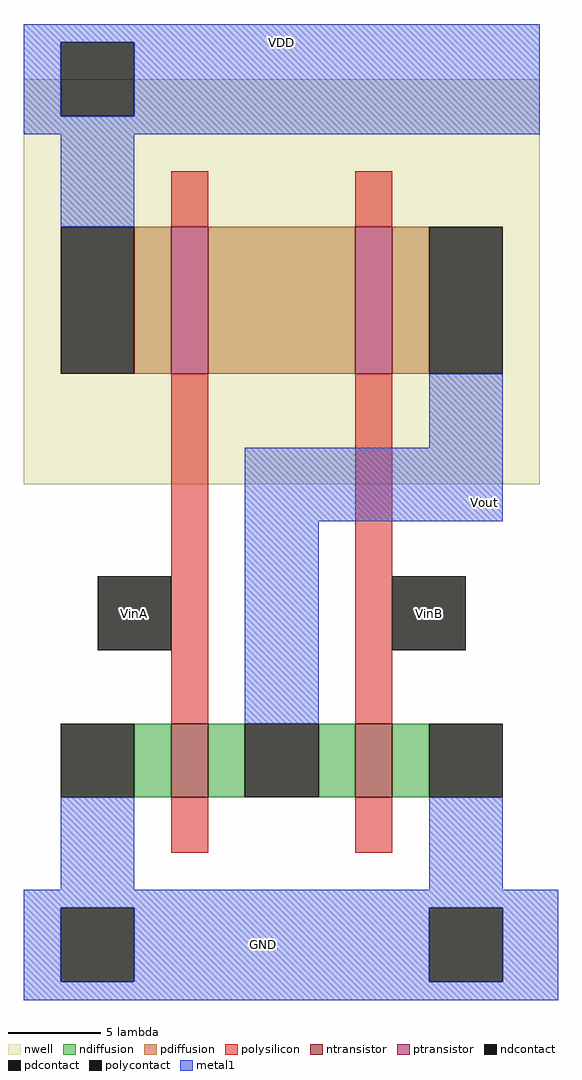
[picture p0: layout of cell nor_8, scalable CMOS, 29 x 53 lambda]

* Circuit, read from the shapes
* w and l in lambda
.subckt nor_8 GND VDD VinA VinB Vout
M1 Vout VinA GND VSUBS nfet w=4 l=2
M2 GND VinB Vout VSUBS nfet w=4 l=2
M3 n1 VinA VDD n2 pfet w=8 l=2
M4 Vout VinB n1 n2 pfet w=8 l=2
.ends

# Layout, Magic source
magic
tech scmos
<< nwell >>
rect -44 -24 -16 -2
<< polysilicon >>
rect -36 -10 -34 -7
rect -26 -10 -24 -7
rect -36 -37 -34 -18
rect -26 -37 -24 -18
rect -36 -44 -34 -41
rect -26 -44 -24 -41
<< ndiffusion >>
rect -38 -41 -36 -37
rect -34 -41 -32 -37
rect -28 -41 -26 -37
rect -24 -41 -22 -37
<< pdiffusion >>
rect -38 -18 -36 -10
rect -34 -18 -26 -10
rect -24 -18 -22 -10
<< metal1 >>
rect -44 0 -16 1
rect -44 -4 -42 0
rect -38 -4 -16 0
rect -44 -5 -16 -4
rect -42 -10 -38 -5
rect -22 -22 -18 -18
rect -32 -26 -18 -22
rect -32 -37 -28 -26
rect -42 -46 -38 -41
rect -22 -46 -18 -41
rect -44 -47 -15 -46
rect -44 -51 -42 -47
rect -38 -51 -22 -47
rect -18 -51 -15 -47
rect -44 -52 -15 -51
<< ntransistor >>
rect -36 -41 -34 -37
rect -26 -41 -24 -37
<< ptransistor >>
rect -36 -18 -34 -10
rect -26 -18 -24 -10
<< polycontact >>
rect -40 -33 -36 -29
rect -24 -33 -20 -29
<< ndcontact >>
rect -42 -41 -38 -37
rect -32 -41 -28 -37
rect -22 -41 -18 -37
rect -42 -51 -38 -47
rect -22 -51 -18 -47
<< pdcontact >>
rect -42 -4 -38 0
rect -42 -18 -38 -10
rect -22 -18 -18 -10
<< labels >>
rlabel metal1 -30 0 -30 0 1 VDD
rlabel metal1 -19 -25 -19 -25 1 Vout
rlabel polycontact -38 -31 -38 -31 1 VinA
rlabel polycontact -22 -31 -22 -31 1 VinB
rlabel metal1 -31 -49 -31 -49 1 GND
<< end >>
